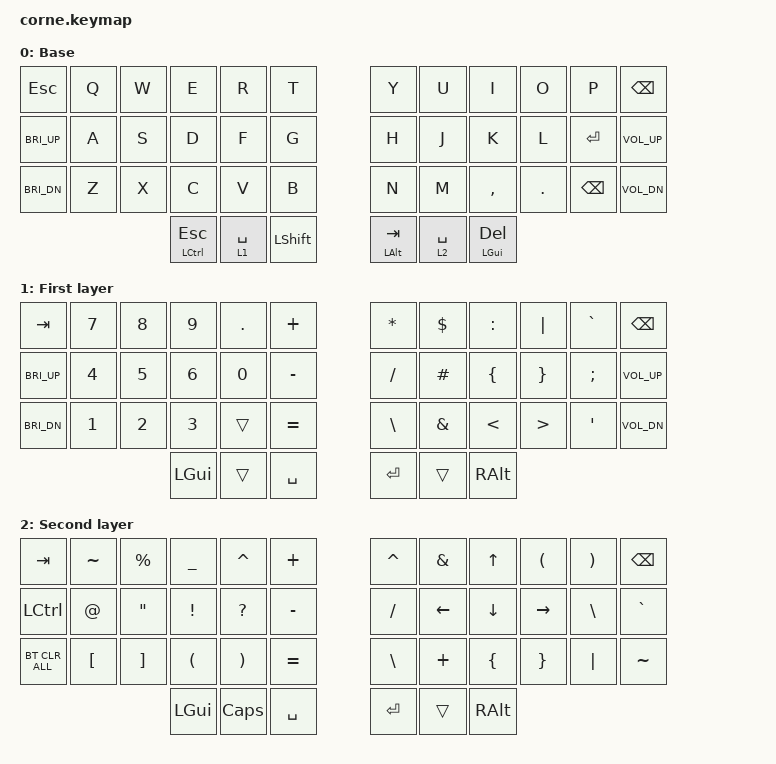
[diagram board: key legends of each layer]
/*
 * Copyright (c) 2020 The ZMK Contributors
 *
 * SPDX-License-Identifier: MIT
 */

#include <behaviors.dtsi>
#include <dt-bindings/zmk/keys.h>
#include <dt-bindings/zmk/bt.h>

&mt {
  tapping-term-ms = <200>;
};

&lt {
  tapping-term-ms = <200>;
};

/ {
        keymap {
                compatible = "zmk,keymap";

                default_layer {
                  display-name = "Base";
// -----------------------------------------------------------------------------------------
// |  ESC |  Q  |  W  |  E  |  R  |  T  |   |  Y  |  U   |  I  |  O  |  P  | BSPC |
// | CTRL |  A  |  S  |  D  |  F  |  G  |   |  H  |  J   |  K  |  L  |  ;  |  ENT |
// | SHFT |  Z  |  X  |  C  |  V  |  B  |   |  N  |  M   |  ,  |  .  |  /  | BSPC |
//                    | CTRL| LWR | SHFT|   | ENT | RSE  | DEL |
                        bindings = <
    &kp ESC   &kp Q &kp W &kp E &kp R &kp T   &kp Y &kp U  &kp I     &kp O   &kp P    &kp BSPC
    &kp C_BRI_UP &kp A &kp S &kp D &kp F &kp G   &kp H &kp J  &kp K     &kp L   &kp ENTER &kp C_VOL_UP
    &kp C_BRI_DN &kp Z &kp X &kp C &kp V &kp B   &kp N &kp M  &kp COMMA &kp DOT &kp BSPC &kp C_VOL_DN
                  &mt LCTRL ESC &lt 1 SPACE &kp LSHFT   &mt LALT TAB &lt 2 SPACE &mt LGUI DEL
                        >;
                };

                lower_layer {
                  display-name = "First layer";
// -----------------------------------------------------------------------------------------
// |  TAB |  1  |  2  |  3  |  4  |  5  |   |  6  |  7  |  8  |  9  |  0  | BSPC |
// | BTCLR| BT1 | BT2 | BT3 | BT4 | BT5 |   | LFT | DWN |  UP | RGT |     |      |
// | SHFT |     |     |     |     |     |   |     |     |     |     |     |      |
//                    | GUI |     | SPC |   | ENT |     | ALT |
                        bindings = <
   &kp TAB    &kp N7  &kp N8  &kp N9  &kp DOT  &kp PLUS         &kp ASTRK   &kp DLLR   &kp COLON &kp PIPE  &kp GRAVE &kp BSPC
   &kp C_BRI_UP &kp N4  &kp N5  &kp N6  &kp N0   &kp MINUS        &kp SLASH   &kp HASH   &kp LBRC  &kp RBRC  &kp SEMI    &kp C_VOL_UP
   &kp C_BRI_DN  &kp N1  &kp N2  &kp N3  &trans   &kp EQUAL        &kp BSLH       &kp AMPS   &kp LT    &kp GT    &kp SQT    &kp C_VOL_DN
                      &kp LGUI  &trans  &kp SPACE      &kp RET  &trans  &kp RALT
                        >;
                };

                raise_layer {
                  display-name = "Second layer";
// -----------------------------------------------------------------------------------------
// |  TAB |  !  |  @  |  #  |  $  |  %  |   |  ^  |  &  |  *  |  (  |  )  | BSPC |
// | CTRL |     |     |     |     |     |   |  -  |  =  |  [  |  ]  |  \  |  `   |
// | SHFT |     |     |     |     |     |   |  _  |  +  |  {  |  }  | "|" |  ~   |
//                    | GUI |     | SPC |   | ENT |     | ALT |
                        bindings = <
   &kp  TAB  &kp TILDE &kp PRCNT &kp UNDER  &kp CARET  &kp PLUS      &kp CARET  &kp AMPS  &kp UP &kp LPAR  &kp RPAR &kp BSPC
   &kp LCTRL &kp AT    &kp DQT   &kp EXCL   &kp QMARK  &kp MINUS     &kp SLASH   &kp LEFT  &kp DOWN    &kp RIGHT &kp BSLH &kp GRAVE
   &bt BT_CLR_ALL    &kp LBKT  &kp RBKT  &kp LPAR   &kp RPAR   &kp EQUAL     &kp BSLH  &kp PLUS  &kp LBRC  &kp RBRC  &kp PIPE &kp TILDE
                                      &kp LGUI &kp CAPS   &kp SPACE   &kp RET   &trans    &kp RALT
                        >;
                };
        };
};
